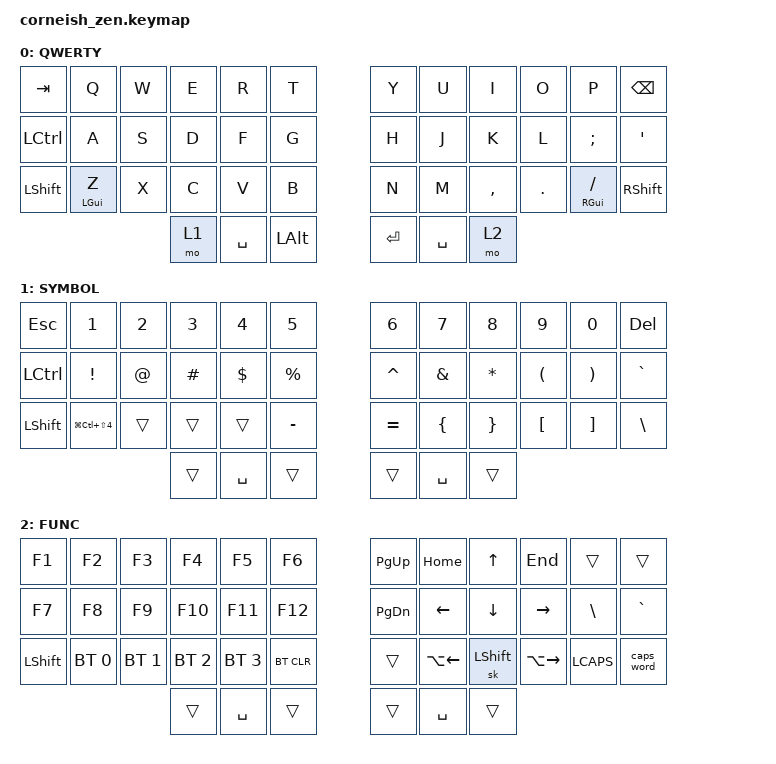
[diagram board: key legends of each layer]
#include <behaviors.dtsi>
#include <dt-bindings/zmk/keys.h>
#include <dt-bindings/zmk/bt.h>

/ {
  chosen {
    zmk,matrix_transform = &default_transform;
    //zmk,matrix_transform = &five_column_transform;
  };
};

/ {
        keymap {
                compatible = "zmk,keymap";

                default_layer {
                        label = "QWERTY";
// -----------------------------------------------------------------------------------------
// | TAB  |  Q  |  W  |  E  |  R  |  T  |   |  Y  |  U   |  I  |  O  |  P  | BKSP |
// | CTRL |  A  |  S  |  D  |  F  |  G  |   |  H  |  J   |  K  |  L  |  ;  |  '   |
// | SHFT |  Z  |  X (GUI)  |  C  |  V  |  B  |   |  N  |  M   |  ,  |  .  |  / (GUI)  | SHFT |
//                          | SYM | SPC | ALT |   | ENT | SPC  | FUNC |
                        bindings = <
   &kp TAB   &kp Q      &kp W &kp E &kp R &kp T   &kp Y   &kp U  &kp I     &kp O   &kp P         &kp BSPC
   &kp LCTRL &kp A      &kp S &kp D &kp F &kp G   &kp H   &kp J  &kp K     &kp L   &kp SEMI      &kp SQT
   &kp LSHFT &mt LGUI Z &kp X &kp C &kp V &kp B   &kp N   &kp M  &kp COMMA &kp DOT &mt RGUI FSLH &kp RSHFT
                        &mo 1 &kp SPACE &kp LALT  &kp RET &kp SPACE &mo 2
                        >;
                };

                lower_layer {
                        label = "SYMBOL";
// -----------------------------------------------------------------------------------------
// |  ESC |   1  |  2  |  3  |  4  |  5  |   |  6  |  7  |  8  |  9  |  0  |  DEL  |
// | CTRL |   !  |  @  |  #  |  $  |  %  |   |  ^  |  &  |  *  |  (  |  )  |  `  |
// | SHFT | snip |     |     |     |  -  |   |  +  |  {  |  }  |  [  |  ]  |  \  |
//                     | SYM |  SPC   | ALT |   | ENT |  SPC   | FUNC |
                        bindings = <
   &kp ESC   &kp N1             &kp N2  &kp N3    &kp N4    &kp N5               &kp N6    &kp N7   &kp N8   &kp N9   &kp N0   &kp DEL
   &kp LCTRL &kp EXCL           &kp AT  &kp HASH  &kp DLLR  &kp PRCNT            &kp CARET &kp AMPS &kp STAR &kp LPAR &kp RPAR &kp GRAVE
   &kp LSHFT &kp LG(LC(LS(N4))) &trans  &trans    &trans    &kp MINUS            &kp EQUAL &kp LBRC &kp RBRC &kp LBKT &kp RBKT &kp BSLH
                                        &trans    &kp SPACE &trans               &trans &kp SPACE &trans 
                        >;
                };

                raise_layer {
                        label = "FUNC";
// -----------------------------------------------------------------------------------------
// |  F1 |  F2  |  F3  |  F4  |  F5  |  F6  |   | PGUP  | Home |  UP   |  END  |      |       |
// | F7 |  F8  |  F9  |  F10  |  F11  |  F12  |   | PGDWN | LFT  |  DWN  | RGHT  |   \   |   `   |
// | SHFT |  BT0 |  BT1 |  BT2 | BT3 | BT CLR |   |    | <-   |  sk shift   |  ->  | CLOCK | CWORD |
//                          | SYM | SPC | ALT |   | ENT   |  SPC  | FUNC |
                        bindings = <
   &kp F1    &kp F2       &kp F3       &kp F4       &kp F5        &kp F6                &kp PG_UP &kp HOME      &kp UP     &kp END       &trans    &trans
   &kp F7    &kp F8       &kp F9       &kp F10      &kp F11       &kp F12               &kp PG_DN &kp LEFT      &kp DOWN   &kp RIGHT     &kp BSLH  &kp GRAVE
   &kp LSHFT &bt BT_SEL 0 &bt BT_SEL 1 &bt BT_SEL 2 &bt BT_SEL 3  &bt BT_CLR            &trans    &kp LA(LEFT)  &sk LSHIFT &kp LA(RIGHT) &kp LCAPS &caps_word
                    	               &trans       &kp SPACE     &trans                &trans    &kp SPACE     &trans
                        >;
                };
        };
};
